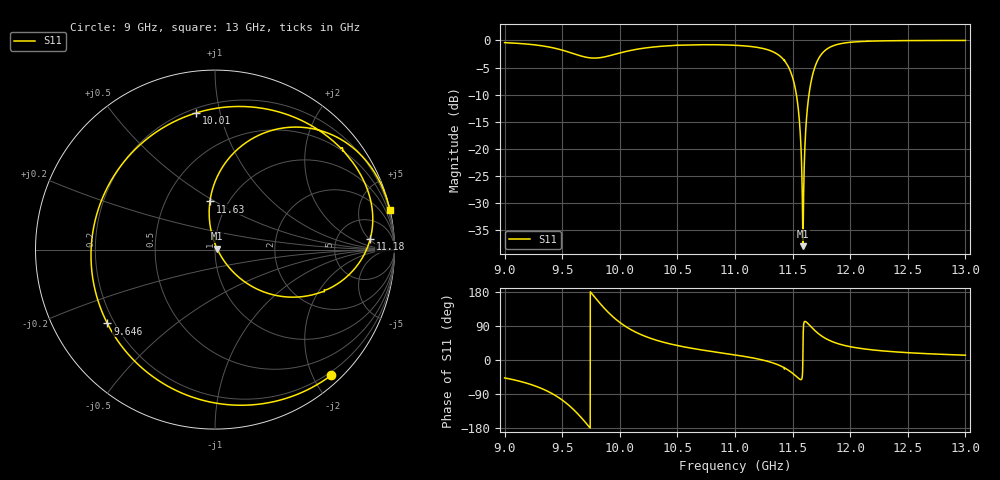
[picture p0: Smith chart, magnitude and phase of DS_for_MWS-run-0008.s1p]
! TOUCHSTONE file generated by CST DESIGN STUDIO
! Date and time: Tue Feb  4 17:20:16 2025
! Project name: C:\Work\MatlabApps\UnitCellOptimizationMatlab\CST\unitcell.cst
! Tree item: Tasks\Sweep1\SPara1\S-Parameters
! Header version: 2024
! Port assignment regex: !\s*Touchstone port\s*([0-9]+)\s*=\s*(CST MWS port|CST DES external port|CST DES block port)\s*(.+)\s* \(\"(.*)\"\)(\s*mode\s*([0-9]+))?.*
! Touchstone port assignment:
! Touchstone port 1 = CST DES external port 1 ("")
# GHz S MA R 50
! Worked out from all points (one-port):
!   4001 points, 9 GHz to 13 GHz, reference 50 ohm
!   lowest |S11| = -37.9 dB at 11.59 GHz (marker M1), VSWR 1.03, Z = 51.1 + j0.609 ohm
!   |S11| at or under -10 dB: 11.53 GHz to 11.64 GHz (109.2 MHz wide, 0.942 % of centre)
!   S11 on the Smith chart (normalised r, x): 9 GHz: 0.15, -2.28; 9.646 GHz: 0.17, -0.30; 10.01 GHz: 0.23, +0.85; 11.18 GHz: 11, +5; 11.63 GHz: 0.82, +0.48; 13 GHz: 0.04, +9.00
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9  0.9538 -47.2
9.266  0.9089 -68.6
9.5  0.8138 -105.6
9.646  0.7273 -145.5
9.722  0.6952 -172.0
9.796  0.688 160.7
9.899  0.7174 126.0
10  0.7658 99.2
10.006  0.7687 97.8
10.231  0.8547 61.2
10.5  0.9088 38.7
11  0.9019 13.4
11.18  0.867 4.0
11.371  0.7429 -12.3
11.5  0.4547 -35.0
11.548  0.2408 -47.5
11.562  0.1651 -50.8
11.577  0.07888 -51.1
11.59  0.0127 28.0
11.603  0.08188 101.2
11.618  0.174 100.4
11.634  0.27 96.0
11.681  0.5153 81.3
11.754  0.7539 62.9
11.862  0.9004 46.4
12  0.9608 35.1
12.5  0.9961 19.3
13  0.9991 12.7
